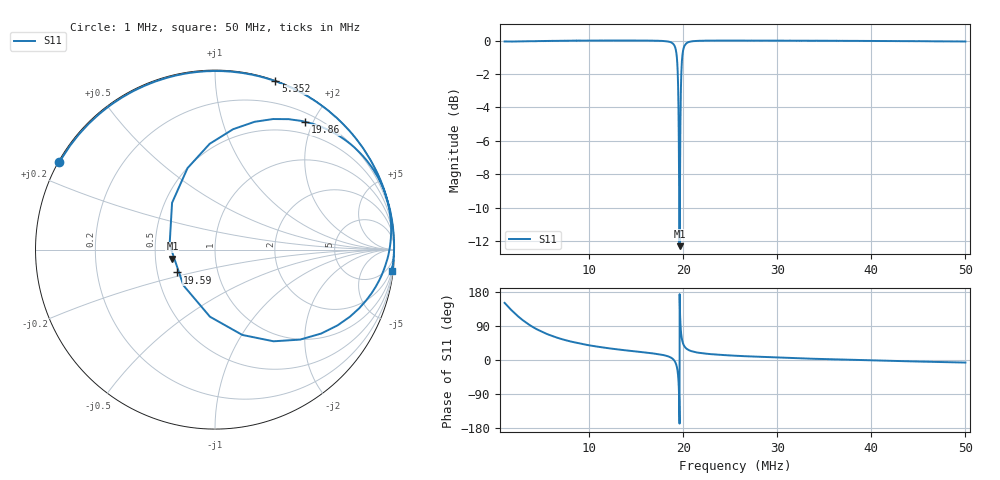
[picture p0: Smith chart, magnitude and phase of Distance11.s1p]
! ListType=Lin
# MHz S RI R 50
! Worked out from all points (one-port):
!   5000 points, 1 MHz to 50 MHz, reference 50 ohm
!   lowest |S11| = -12.3 dB at 19.6 MHz (marker M1), VSWR 1.64, Z = 30.7 - j3.33 ohm
!   |S11| at or under -10 dB: 19.56934 MHz to 19.63409 MHz (64.75 kHz wide, 0.33 % of centre)
!   S11 on the Smith chart (normalised r, x): 1 MHz: 0.00, +0.26; 5.352 MHz: 0.00, +1.42; 19.59 MHz: 0.63, -0.17; 19.86 MHz: 0.32, +1.89; 50 MHz: 1, -17
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1  -0.867 0.4854
1.980196  -0.575 0.81
2.852571  -0.2835 0.953
4.107221  0.0767 0.9922
5.35207  0.3366 0.9385
7.126225  0.5754 0.8156
9.723745  0.7658 0.6422
13.25245  0.8887 0.4587
17.55551  0.9656 0.2508
18.37888  0.979 0.167
18.86897  0.9792 0.0543
19.19244  0.9325 -0.1335
19.28066  0.8816 -0.2297
19.37868  0.7515 -0.3741
19.4865  0.3791 -0.5114
19.59432  -0.2114 -0.1274
19.60412  -0.2371 -0.051
19.74135  0.1422 0.6883
19.85897  0.5034 0.7121
19.9864  0.6855 0.6372
20.12362  0.7799 0.5662
20.65293  0.8963 0.4234
22.16243  0.953 0.2982
25.5049  0.9803 0.1962
31.63113  0.9953 0.0876
37.75735  0.9977 0.00767
43.88358  0.9941 -0.0592
50  0.9863 -0.1168
